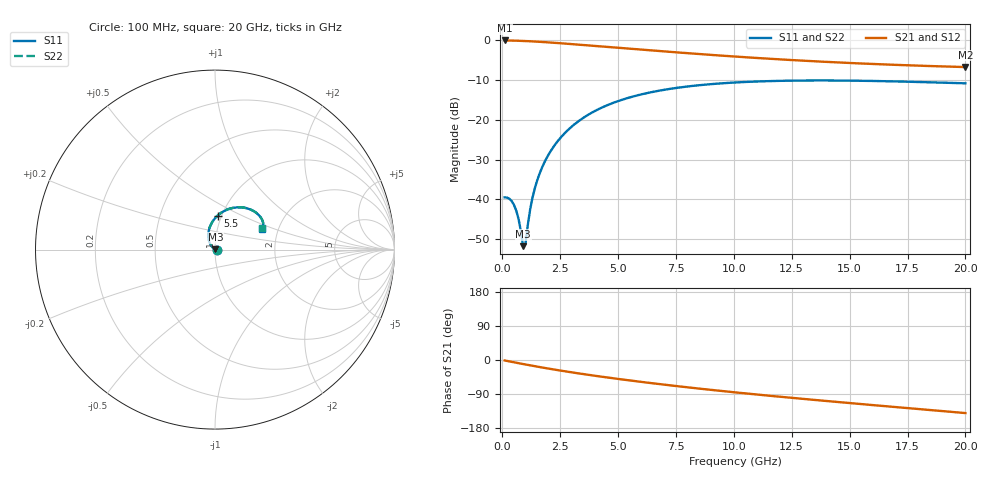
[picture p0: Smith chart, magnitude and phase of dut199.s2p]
! Touchstone file exported from HFSS 2024.1.0
!  File:  C:/UserFiles/LocalFiles/RDL_TSV_Batchsim/temp_RDL_TSV_199_1779443477.aedt
!  Generated:  06:07:29 PM May 22, 2026
!  Design:  RDL_TSV
!  Project:  temp_RDL_TSV_199_1779443477
!  Setup:  Setup1
!  Solution:  Sweep
! Variables:
!  dtsv = 5.97um
!  hbump = 3um
!  htsv = 97.39um
!  ldown = 338.81um
!  lrdl = 146.84um
!  p = 40
!  p1 = 46.81um
!  rhole = 10um
!  subl = 1603.79um
!  t = 450um
!  tdown = 3.44um
!  trdl = 2.82um
!  viad = 10um
!  wdown = 25.17um
!  wrdl = 17.75um
!  xbump = 18um
# GHz S MA R 50.000000
! Terminal data exported
! Port[1] = TM1_1_T1
! Port[2] = TM1_4_T1
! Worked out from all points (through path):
!   200 points, 100 MHz to 20 GHz, reference 50 ohm
!   highest |S21| = -0.10 dB at 100 MHz (marker M1); lowest = -6.8 dB at 20 GHz (marker M2)
!   group delay of S21, straight-line fit = 18.4 ps
!   lowest |S11| = -51.7 dB at 900 MHz (marker M3), VSWR 1.01, Z = 50.2 + j0.178 ohm
!   |S11| at or under -10 dB: start of sweep to end of sweep
!   |S22| runs from -51.8 to -10.1 dB; largest |S21 - S12| = 2.9e-14
!   S11 on the Smith chart (normalised r, x): 100 MHz: 1.02, +0.00; 5.5 GHz: 0.96, +0.38; 20 GHz: 1.64, +0.42
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0.1  0.0106 1.5  0.9891 -1.2  0.9891 -1.2  0.0106 1.5
! Gamma 0 0 0 0
! Port Impedance 50 0 50 0
0.4  0.009571 1.4  0.9857 -4.8  0.9857 -4.8  0.009569 1.4
0.6  0.007276 2.4  0.9822 -7.2  0.9822 -7.2  0.007272 2.4
0.7  0.005726 5.8  0.9801 -8.4  0.9801 -8.4  0.00572 5.8
0.8  0.004032 15.2  0.9778 -9.5  0.9778 -9.5  0.004025 15.3
0.9  0.002587 43.2  0.9752 -10.7  0.9752 -10.7  0.002581 43.4
1  0.002746 96.0  0.9724 -11.8  0.9724 -11.8  0.002751 96.2
1.1  0.004725 123.2  0.9695 -13.0  0.9695 -13.0  0.004738 123.4
1.2  0.007389 132.5  0.9663 -14.1  0.9663 -14.1  0.007406 132.6
1.4  0.01362 137.2  0.9594 -16.3  0.9594 -16.3  0.01365 137.3
1.6  0.02068 136.7  0.9519 -18.5  0.9519 -18.5  0.02071 136.8
1.8  0.02837 134.7  0.9438 -20.6  0.9438 -20.6  0.02841 134.7
2.1  0.04084 130.6  0.9311 -23.8  0.9311 -23.8  0.0409 130.6
2.5  0.05871 124.5  0.9132 -27.8  0.9132 -27.8  0.05879 124.6
3.5  0.1057 109.7  0.867 -37.2  0.867 -37.2  0.1058 109.8
4.4  0.1465 97.9  0.8264 -45.0  0.8264 -45.0  0.1467 97.9
5.5  0.1905 85.5  0.7793 -53.9  0.7793 -53.9  0.1907 85.5
6.8  0.2324 73.2  0.7278 -63.7  0.7278 -63.7  0.2327 73.2
10.1  0.294 50.7  0.6197 -85.7  0.6197 -85.7  0.2945 50.7
13.4  0.3111 36.4  0.5432 -104.9  0.5432 -104.9  0.3116 36.4
16.7  0.304 27.8  0.492 -122.7  0.492 -122.7  0.3045 27.9
20  0.2865 24.1  0.4582 -140.0  0.4582 -140.0  0.287 24.2
